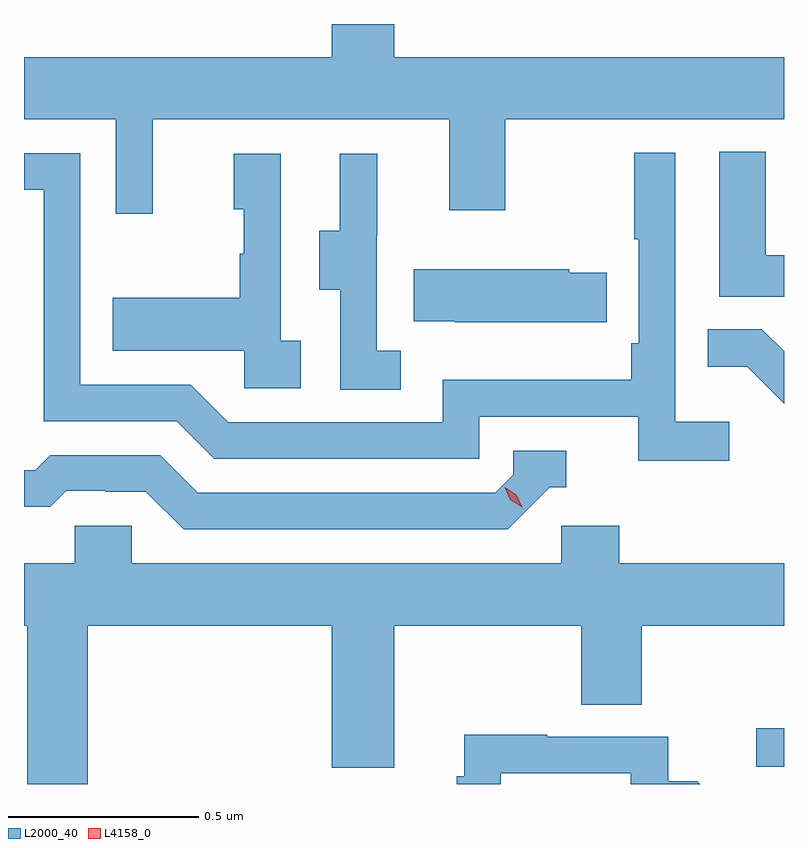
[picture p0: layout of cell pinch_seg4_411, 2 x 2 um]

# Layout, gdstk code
import gdstk
lib = gdstk.Library(unit=1e-6, precision=1e-09)
def R(c, l, rs):  # rectangles x0, y0, x1, y1
    for r in rs: c.add(gdstk.rectangle(r[:2], r[2:], *l))
def P(c, l, *ps):  # polygons
    for p in ps: c.add(gdstk.Polygon(p, *l))
L2000_40 = (2000, 40)
L4158_0 = (4158, 0)

pinch_seg4_411 = lib.new_cell('pinch_seg4_411')
R(pinch_seg4_411, L2000_40, [(969.321,780.464,969.394,780.566)])
P(pinch_seg4_411, L2000_40, [(967.733,782.168),(968.513,782.168),(968.513,781.929),(968.661,781.929),(968.661,782.168),(969.394,782.168),(969.394,782.332),(968.368,782.332),(968.368,782.419),(968.204,782.419),(968.204,782.332),(967.394,782.332),(967.394,782.168),(967.635,782.168),(967.635,781.92),(967.733,781.92)],
  [(969.394,781.81),(969.346,781.81),(969.346,782.083),(969.224,782.083),(969.224,781.701),(969.394,781.701)],
  [(969.25,781.372),(969.108,781.372),(969.108,782.08),(969,782.08),(969,781.852),(969.012,781.852),(969.012,781.579),(968.992,781.579),(968.992,781.483),(968.496,781.483),(968.496,781.371),(967.932,781.371),(967.833,781.47),(967.542,781.47),(967.542,782.079),(967.394,782.079),(967.394,781.983),(967.446,781.983),(967.446,781.374),(967.796,781.374),(967.895,781.275),(968.592,781.275),(968.592,781.386),(969.011,781.386),(969.011,781.27),(969.25,781.27)],
  [(968.122,781.586),(968.07,781.586),(968.07,782.077),(967.946,782.077),(967.946,781.932),(967.972,781.932),(967.972,781.814),(967.962,781.814),(967.962,781.699),(967.627,781.699),(967.627,781.559),(967.974,781.559),(967.974,781.461),(968.122,781.461)],
  [(968.386,781.559),(968.322,781.559),(968.322,781.863),(968.324,781.863),(968.324,782.077),(968.225,782.077),(968.225,781.875),(968.171,781.875),(968.171,781.72),(968.226,781.72),(968.226,781.456),(968.386,781.456)],
  [(968.927,781.764),(968.829,781.764),(968.829,781.774),(968.419,781.774),(968.419,781.637),(968.527,781.637),(968.527,781.634),(968.927,781.634)],
  [(969.394,781.558),(969.336,781.616),(969.193,781.616),(969.193,781.517),(969.297,781.517),(969.394,781.42)],
  [(968.778,781.2),(968.821,781.2),(968.821,781.296),(968.682,781.296),(968.682,781.233),(968.634,781.185),(967.851,781.185),(967.752,781.284),(967.463,781.284),(967.424,781.245),(967.394,781.245),(967.394,781.149),(967.463,781.149),(967.505,781.191),(967.608,781.191),(967.608,781.188),(967.715,781.188),(967.814,781.089),(968.667,781.089)],
  [(967.562,780.836),(968.204,780.836),(968.204,780.462),(968.368,780.462),(968.368,780.836),(968.86,780.836),(968.86,780.628),(969.02,780.628),(969.02,780.836),(969.394,780.836),(969.394,781),(968.96,781),(968.96,781.098),(968.808,781.098),(968.808,781),(967.677,781),(967.677,781.098),(967.527,781.098),(967.527,781),(967.394,781),(967.394,780.836),(967.402,780.836),(967.402,780.419),(967.562,780.419)],
  [(968.649,780.447),(968.991,780.447),(968.991,780.419),(969.173,780.419),(969.166,780.426),(969.09,780.426),(969.09,780.543),(968.771,780.543),(968.771,780.548),(968.552,780.548),(968.552,780.44),(968.533,780.44),(968.533,780.419),(968.649,780.419)])
P(pinch_seg4_411, L4158_0, [(968.705,781.147),(968.674,781.167),(968.659,781.2),(968.659,781.2),(968.659,781.2),(968.69,781.18),(968.705,781.147),(968.705,781.147)])

lib.write_gds('pinch_seg4_411.gds')
